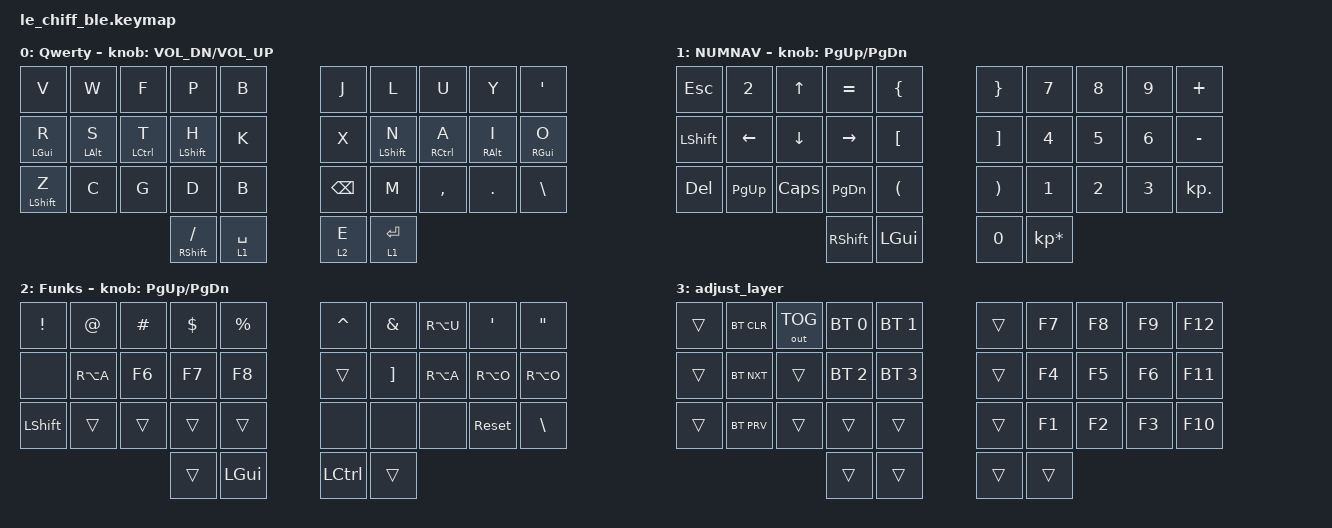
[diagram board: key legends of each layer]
/*
 * Copyright (c) 2021 @MangoIV
 *
 * SPDX-License-Identifier: MIT
 */

#include <behaviors.dtsi>
#include <dt-bindings/zmk/bt.h>
#include <dt-bindings/zmk/keys.h>
#include <dt-bindings/zmk/outputs.h>

// makes it possible to hold backspace

&mt { quick_tap_ms = <200>; };

&lt { quick_tap_ms = <200>; };

/ {
    combos {
        compatible = "zmk,combos";

        combo_esc {
            bindings = <&kp ESCAPE>;
            key-positions = <0 1>;
        };
    };

    keymap {
        compatible = "zmk,keymap";

        default {
            label = "Qwerty";

            //  _____________________________       _____________________________
            // /  Q  |  W  |  E  |  R  |  T  \     /  Y  |  U  |  I  |  O  |  P  \
// |  A  |  S  |  D  |  F  |  G  | ___ |  H  |  J  |  K  |  L  |  ;  |
            // |Sft/Z|  X  |  C  |  V  |  B  ||MUT||  N  |  M  |  ,  |  .  |Sft//|
            //         \LSup/Bspc|  Ctl/SPC  /     \  Num/Del  | Sym/Ent /
            //          ---------------------       --------------------

            bindings = <
&kp V        &kp W           &kp F        &kp P             &kp B          &kp J          &kp L        &kp U        &kp Y            &kp SQT
&mt LGUI R   &mt LEFT_ALT S  &mt LCTRL T  &mt LEFT_SHIFT H  &kp K          &kp X          &mt LSHFT N  &mt RCTRL A  &mt RIGHT_ALT I  &mt RGUI O
&mt LSHFT Z  &kp C           &kp G        &kp D             &kp B          &kp BACKSPACE  &kp M        &kp COMMA    &kp PERIOD       &kp BACKSLASH
                                          &mt RSHFT FSLH    &lt 1 SPACE    &lt 2 E        &lt 1 RET
            >;

            sensor-bindings = <&inc_dec_kp C_VOL_DN C_VOL_UP>;
        };

        Numbers_navigation {
            label = "NUMNAV";

            //  _____________________________       _____________________________
            // /  1  |  2  |  3  |  4  |  5  \     /  6  |  7  |  8  |  9  |  0  \
// | TAB |BTPRV|BTNXT| VOL-| VOL+| ___ |  <  |  v  |  ^  |  >  |  '  |
            // | Sft |BTSL0|BTCLR| MUT |     ||CPS|| HOME| END | PGUP| PGDN| Sft |
            //         \  LGUI   |    Ctl    /     \   Trns    |         /
            //          ---------------------       --------------------

            bindings = <
&kp ESCAPE      &kp N2          &kp UP_ARROW    &kp EQUAL      &kp LEFT_BRACE          &kp RIGHT_BRACE        &kp N7           &kp N8        &kp N9        &kp PLUS
&kp LEFT_SHIFT  &kp LEFT_ARROW  &kp DOWN_ARROW  &kp RIGHT      &kp LEFT_BRACKET        &kp RIGHT_BRACKET      &kp NUMBER_4     &kp N5        &kp NUMBER_6  &kp MINUS
&kp DELETE      &kp PG_UP       &kp CAPS        &kp PAGE_DOWN  &kp LEFT_PARENTHESIS    &kp RIGHT_PARENTHESIS  &kp NUMBER_1     &kp NUMBER_2  &kp NUMBER_3  &kp KP_DOT
                                                &kp RSHFT      &kp LGUI                &kp N0                 &kp KP_MULTIPLY
            >;

            sensor-bindings = <&inc_dec_kp PG_UP PG_DN>;
        };

        symbols {
            label = "Funks";

            //  _____________________________       _____________________________
            // / ESC | F1  | F2  | F3  | F4  \     / USB | BLE |     |  =  |  -  \
// |     | F5  | F6  | F7  | F8  | ___ |  [  |  ]  |     |  `  |  \  |
            // | Sft | F9  | F10 | F11 | F12 ||   ||     |     |     |     | Sft |
            //         \  LAlt   |    Ctl    /     \           | Trns    /
            //          ---------------------       --------------------

            bindings = <
&kp EXCLAMATION  &kp AT_SIGN  &kp HASH  &kp DOLLAR  &kp PERCENT    &kp CARET  &kp AMPERSAND  &kp RA(U)  &kp SQT     &kp DQT
&none            &kp RA(A)    &kp F6    &kp F7      &kp F8         &trans     &kp RBKT       &kp RA(A)  &kp RA(O)   &kp RA(O)
&kp LSHFT        &trans       &trans    &trans      &trans         &none      &none          &none      &sys_reset  &kp BACKSLASH
                                        &trans      &kp LGUI       &kp LCTRL  &trans
            >;

            sensor-bindings = <&inc_dec_kp PG_UP PG_DN>;
        };

        adjust_layer {
            bindings = <
&trans  &bt BT_CLR  &out OUT_TOG  &bt BT_SEL 0  &bt BT_SEL 1    &trans  &kp F7  &kp F8  &kp F9  &kp F12
&trans  &bt BT_NXT  &trans        &bt BT_SEL 2  &bt BT_SEL 3    &trans  &kp F4  &kp F5  &kp F6  &kp F11
&trans  &bt BT_PRV  &trans        &trans        &trans          &trans  &kp F1  &kp F2  &kp F3  &kp F10
                                  &trans        &trans          &trans  &trans
            >;
        };
    };
};
